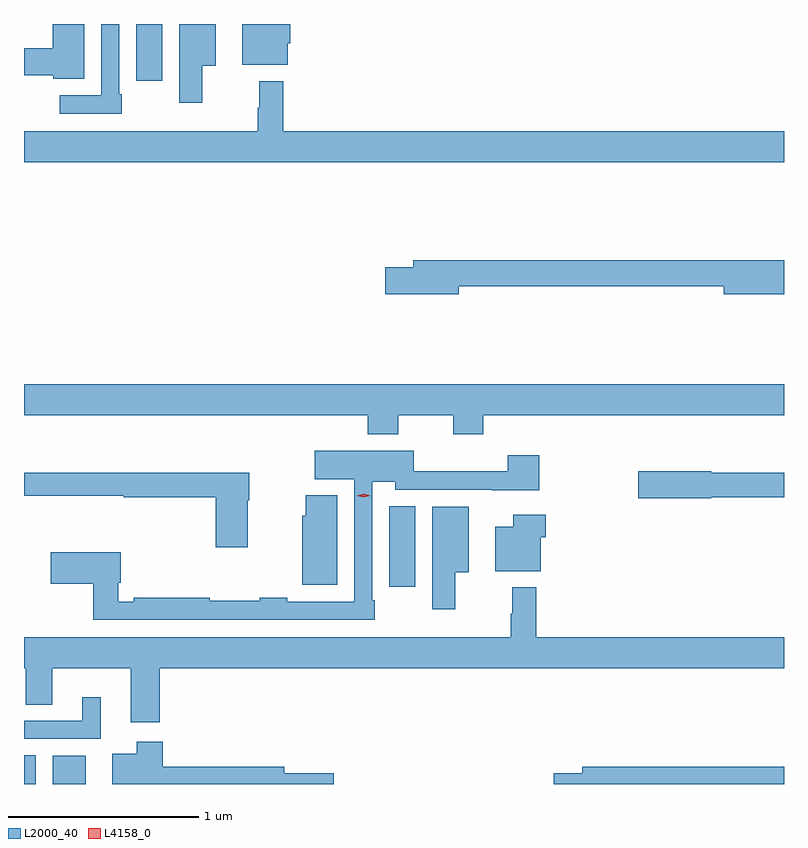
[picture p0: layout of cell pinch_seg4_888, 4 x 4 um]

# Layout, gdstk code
import gdstk
lib = gdstk.Library(unit=1e-6, precision=1e-09)
def R(c, l, rs):  # rectangles x0, y0, x1, y1
    for r in rs: c.add(gdstk.rectangle(r[:2], r[2:], *l))
def P(c, l, *ps):  # polygons
    for p in ps: c.add(gdstk.Polygon(p, *l))
L2000_40 = (2000, 40)
L4158_0 = (4158, 0)

pinch_seg4_888 = lib.new_cell('pinch_seg4_888')
R(pinch_seg4_888, L2000_40, [(708.224,817.524,708.286,817.676), (708.374,817.524,708.55,817.672), (710.147,818.562,710.284,818.987), (708.815,821.226,708.952,821.524)])
P(pinch_seg4_888, L2000_40, [(709.612,821.424),(709.624,821.424),(709.624,821.524),(709.373,821.524),(709.373,821.309),(709.612,821.309)],
  [(708.739,821.155),(708.726,821.155),(708.726,821.524),(708.63,821.524),(708.63,821.148),(708.411,821.148),(708.411,821.052),(708.739,821.052)],
  [(709.162,821.303),(709.234,821.303),(709.234,821.524),(709.04,821.524),(709.04,821.109),(709.162,821.109)],
  [(708.541,821.524),(708.374,821.524),(708.374,821.396),(708.224,821.396),(708.224,821.254),(708.378,821.254),(708.378,821.237),(708.541,821.237)],
  [(712.224,820.96),(709.589,820.96),(709.589,821.224),(709.461,821.224),(709.461,821.084),(709.453,821.084),(709.453,820.96),(708.224,820.96),(708.224,820.796),(712.224,820.796)],
  [(710.512,820.144),(711.908,820.144),(711.908,820.102),(712.224,820.102),(712.224,820.28),(710.273,820.28),(710.273,820.244),(710.124,820.244),(710.124,820.102),(710.512,820.102)],
  [(710.193,819.464),(710.482,819.464),(710.482,819.365),(710.642,819.365),(710.642,819.464),(712.224,819.464),(712.224,819.628),(708.224,819.628),(708.224,819.464),(710.033,819.464),(710.033,819.365),(710.193,819.365)],
  [(710.071,818.491),(710.058,818.491),(710.058,819.116),(710.178,819.116),(710.178,819.072),(710.687,819.072),(710.687,819.071),(710.936,819.071),(710.936,819.253),(710.771,819.253),(710.771,819.17),(710.274,819.17),(710.274,819.277),(709.755,819.277),(709.755,819.128),(709.962,819.128),(709.962,818.484),(709.61,818.484),(709.61,818.504),(709.465,818.504),(709.465,818.489),(709.202,818.489),(709.202,818.504),(708.802,818.504),(708.802,818.484),(708.721,818.484),(708.721,818.583),(708.733,818.583),(708.733,818.745),(708.366,818.745),(708.366,818.579),(708.589,818.579),(708.589,818.388),(710.071,818.388)],
  [(711.84,819.034),(712.224,819.034),(712.224,819.163),(711.84,819.163),(711.84,819.171),(711.456,819.171),(711.456,819.029),(711.84,819.029)],
  [(709.402,819.017),(709.41,819.017),(709.41,819.163),(708.224,819.163),(708.224,819.042),(708.748,819.042),(708.748,819.034),(709.232,819.034),(709.232,818.769),(709.402,818.769)],
  [(709.873,819.043),(709.706,819.043),(709.706,818.937),(709.688,818.937),(709.688,818.573),(709.873,818.573)],
  [(710.494,818.639),(710.566,818.639),(710.566,818.983),(710.372,818.983),(710.372,818.445),(710.494,818.445)],
  [(710.944,818.823),(710.969,818.823),(710.969,818.941),(710.798,818.941),(710.798,818.878),(710.705,818.878),(710.705,818.645),(710.944,818.645)],
  [(708.938,818.132),(712.224,818.132),(712.224,818.296),(710.921,818.296),(710.921,818.56),(710.793,818.56),(710.793,818.42),(710.785,818.42),(710.785,818.296),(708.224,818.296),(708.224,818.132),(708.233,818.132),(708.233,817.942),(708.373,817.942),(708.373,818.132),(708.785,818.132),(708.785,817.848),(708.938,817.848)],
  [(708.628,817.981),(708.53,817.981),(708.53,817.857),(708.224,817.857),(708.224,817.761),(708.628,817.761)],
  [(709.855,817.58),(709.594,817.58),(709.594,817.616),(708.953,817.616),(708.953,817.747),(708.818,817.747),(708.818,817.684),(708.689,817.684),(708.689,817.524),(709.855,817.524)],
  [(712.224,817.616),(711.161,817.616),(711.161,817.58),(711.012,817.58),(711.012,817.524),(712.224,817.524)])
P(pinch_seg4_888, L4158_0, [(710.011,819.032),(709.976,819.041),(709.976,819.042),(709.976,819.042),(710.011,819.052),(710.046,819.042),(710.046,819.042),(710.046,819.041)])

lib.write_gds('pinch_seg4_888.gds')
